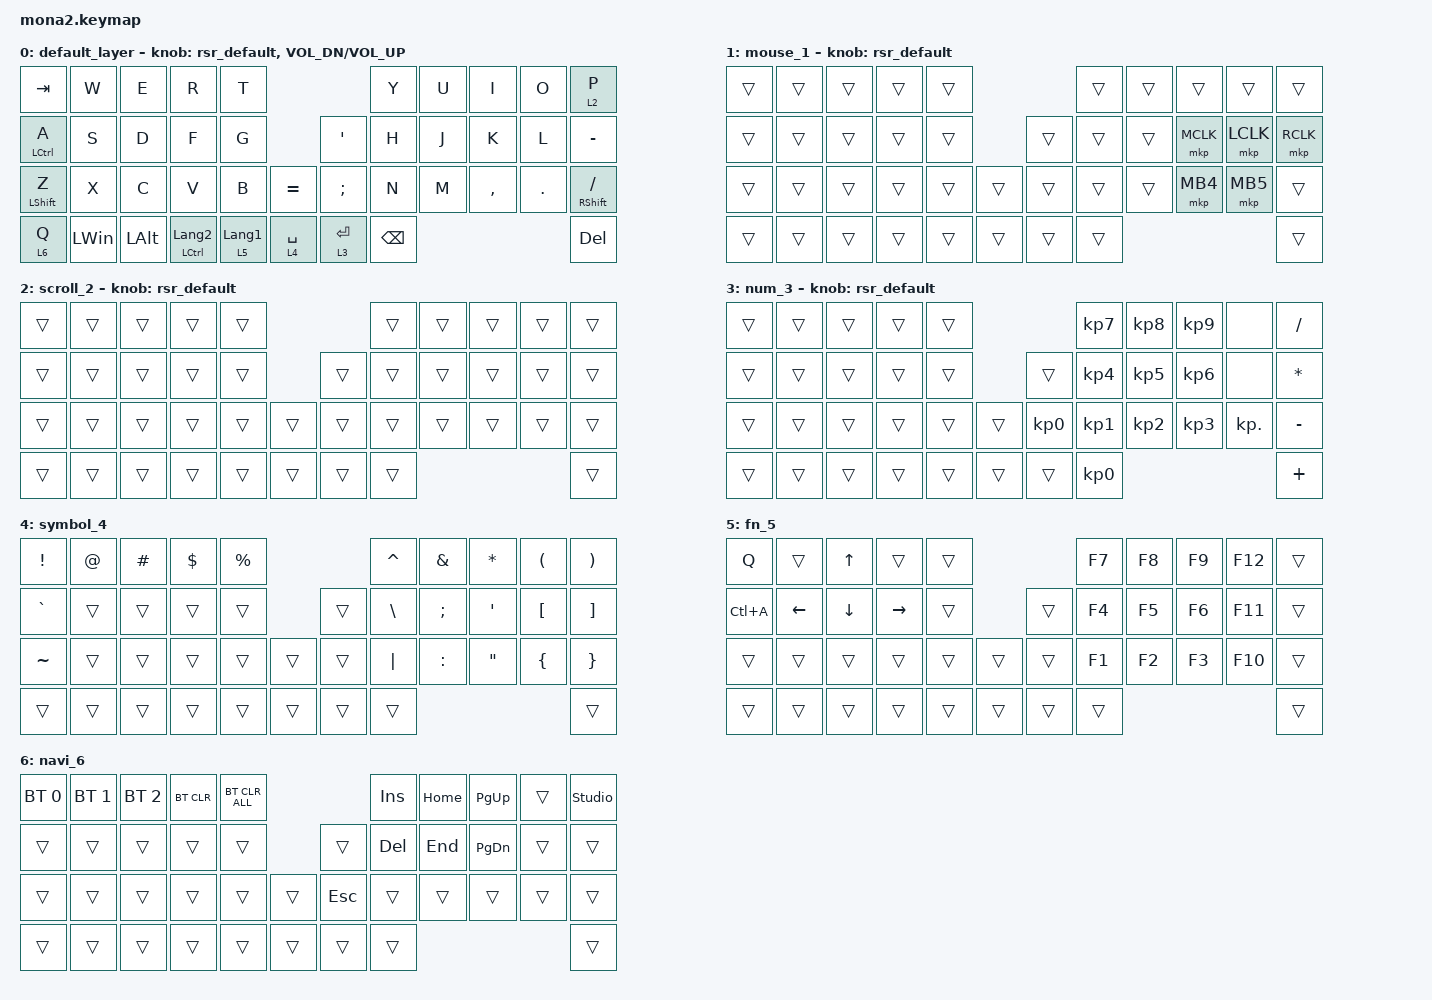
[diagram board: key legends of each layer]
#include <input/processors.dtsi>
#include <dt-bindings/zmk/input_transform.h>
#include <zephyr/dt-bindings/input/input-event-codes.h>
#include <behaviors/runtime-sensor-rotate.dtsi>

/* DYA Studio から作成したマクロを呼び出す `&rmacro <slot>` を定義する。
   slot は 0 〜 CONFIG_ZMK_RUNTIME_MACRO_COUNT-1 (現状 0〜7)。
   どのマクロがどのスロットに入っているかは DYA Studio のマクロ一覧で確認する。
   キーへの割り当ては DYA Studio のキーマップエディタからも行える。 */

#include <behaviors/runtime_macro.dtsi>

/* デフォルトレイヤー変更 behavior `&df`。
   DYA Studio の「OSごとのデフォルトレイヤー」から設定できるほか、
   キーマップエディタで `&df DF_SEL <layer>` / `&df DF_INC` を
   任意のキーに割り当てられる。 */

#include <behaviors/default_layer.dtsi>
#include <dt-bindings/zmk_behavior_default_layer/default_layer.h>
#include <behaviors.dtsi>
#include <dt-bindings/zmk/bt.h>
#include <dt-bindings/zmk/keys.h>
#include <dt-bindings/zmk/outputs.h>
#include <dt-bindings/zmk/pointing.h>

/* ZMK 側で 10 が定義済みなので警告回避のため一旦 undef */

#undef ZMK_POINTING_DEFAULT_SCRL_VAL

#define ZMK_POINTING_DEFAULT_SCRL_VAL 100

/ {
    behaviors {
        mg_set_0: behavior_mg_set_0 {
            compatible = "zmk,behavior-mg-set-fixed";
            #binding-cells = <0>;
            display-name = "Mouse Gesture Key 0";
        };

        mg_set_1: behavior_mg_set_1 {
            compatible = "zmk,behavior-mg-set-fixed";
            #binding-cells = <0>;
            display-name = "Mouse Gesture Key 1";
        };

        mg_set_2: behavior_mg_set_2 {
            compatible = "zmk,behavior-mg-set-fixed";
            #binding-cells = <0>;
            display-name = "Mouse Gesture Key 2";
        };
    };
};

&mt {
    flavor = "balanced";
    quick-tap-ms = <0>;
};

&lt {
    quick-tap-ms = <200>;
    flavor = "balanced";
};

&msc {
    delay-ms = <0>;
    time-to-max-speed-ms = <0>;
    acceleration-exponent = <0>;
};

/ {
    /* ─────────────────────────────────────────────────────────────
       コンボ (DYA Studio から編集可能)

       旧 `combos { compatible = "zmk,combos"; }` はコンパイル時固定で
       DYA Studio から編集できないため、zmk-feature-runtime-combo の
       「コンパイル時デフォルト」ノードへ移行した。
       ここに書いた内容はフラッシュ直後から有効で、設定を消しても復活する。
       DYA Studio 側で編集するとそのスロットだけ上書きされ、
       Web UI の "Reset to Default" でここの値へ戻せる。

       スロット総数は CONFIG_ZMK_RUNTIME_COMBO_MAX_COMBOS (現状 16)。
       未使用スロット (2〜15) は DYA Studio から自由に追加できる。
       ────────────────────────────────────────────────────────── */

    runtime_combo_defaults {
        compatible = "cormoran,runtime-combo-defaults";

        layer4_ESC {
            slot = <0>;
            display-name = "Layer4 ESC";
            key-positions = <38 39>;
            bindings = <&lt 4 ESC>;
        };

        tab {
            slot = <1>;
            display-name = "Tab";
            key-positions = <11 12>;
            bindings = <&kp TAB>;
        };
    };

    /* 静的マクロ。キーマップ上で &BT0 / &screenshot などの名前で直接
       参照しているため、そのまま残している (DYA Studio 上では編集不可)。
       DYA Studio から編集したいマクロは Web UI で新規作成し、
       キーに `&rmacro <slot>` を割り当てて使う。 */

    macros {
        to_layer_0: to_layer_0 {
            compatible = "zmk,behavior-macro-one-param";
            #binding-cells = <1>;
            bindings = <&to 0 &macro_param_1to1 &kp MACRO_PLACEHOLDER>;
            label = "TO_LAYER_0";
        };

        BT0: BT0 {
            compatible = "zmk,behavior-macro";
            #binding-cells = <0>;
            bindings =
                <&tog_off 0 &tog_off 0>,
                <&macro_wait_time 200>,
                <&bt BT_SEL 0>,
                <&macro_wait_time 500>,
                <&tog_on 0>;

            label = "BT0";
        };

        BT1: BT1 {
            compatible = "zmk,behavior-macro";
            #binding-cells = <0>;
            bindings =
                <&tog_off 0 &tog_off 0>,
                <&macro_wait_time 200>,
                <&bt BT_SEL 1>,
                <&macro_wait_time 500>,
                <&tog_on 0>;

            label = "BT1";
        };

        screenshot: screenshot {
            compatible = "zmk,behavior-macro";
            #binding-cells = <0>;
            bindings =
                <&macro_press>,
                <&kp LEFT_GUI &kp RSHIFT>,
                <&macro_wait_time 20>,
                <&macro_tap>,
                <&kp S>,
                <&macro_release>,
                <&kp LEFT_GUI &kp RSHIFT>;

            label = "SCREENSHOT";
        };

        henkan: henkan {
            compatible = "zmk,behavior-macro";
            #binding-cells = <0>;
            bindings =
                <&macro_press>,
                <&kp LEFT_ALT>,
                <&macro_wait_time 20>,
                <&macro_tap>,
                <&kp GRAVE>,
                <&macro_release>,
                <&kp LEFT_ALT>;

            label = "HENKAN";
        };
    };

    behaviors {
        lt_to_layer_0: lt_to_layer_0 {
            compatible = "zmk,behavior-hold-tap";
            label = "LAYER_TAP_TO_0";
            bindings = <&mo>, <&to_layer_0>;

            #binding-cells = <2>;
            tapping-term-ms = <200>;
        };

        tp_repeat_mo1: tp_repeat_mo1 {
            compatible = "zmk,behavior-hold-tap";
            label = "TP_REPEAT_MO1";
            bindings = <&mo>, <&key_repeat>;

            #binding-cells = <2>;
            tapping-term-ms = <200>;
        };

        // エンコーダ用 runtime-configurable sensor rotate
        // デフォルトはスクロール (cw=SCRL_DOWN, ccw=SCRL_UP)
        // DYA Studio Web UI から レイヤーごとに cw/ccw の binding を
        // kp C_VOL_UP/DN や kp LEFT/RIGHT などへ動的変更可能

        rsr_default: rsr_default {
            compatible = "zmk,behavior-runtime-sensor-rotate";
            #sensor-binding-cells = <0>;
            tap-ms = <16>;
            cw-binding = <&msc SCRL_DOWN>;
            ccw-binding = <&msc SCRL_UP>;
        };

        tog_on: toggle_layer_on_only {
            compatible = "zmk,behavior-toggle-layer";
            #binding-cells = <1>;
            display-name = "Toggle Layer On";
            toggle-mode = "on";
        };

        tog_off: toggle_layer_off_only {
            compatible = "zmk,behavior-toggle-layer";
            #binding-cells = <1>;
            display-name = "Toggle Layer Off";
            toggle-mode = "off";
        };

        zfold: zfold {
            compatible = "zmk,behavior-hold-tap";
            label = "ZFOLD";
            bindings = <&kp>, <&kp>;

            #binding-cells = <2>;
            tapping-term-ms = <300>;
            flavor = "hold-preferred";
            quick-tap-ms = <150>;
            hold-while-undecided;
        };

        zfoldZ: zfoldZ {
            compatible = "zmk,behavior-tap-dance";
            label = "ZFOLDZ";
            #binding-cells = <0>;
            bindings = <&zfold LEFT_SHIFT Z>, <&kp LS(Z)>;
        };
    };

    keymap {
        compatible = "zmk,keymap";

        default_layer {
            bindings = <
&kp TAB           &kp W         &kp E         &kp R                        &kp T                                           &kp Y          &kp U  &kp I      &kp O    &lt 2 P
&mt LCTRL A       &kp S         &kp D         &kp F                        &kp G                            &kp SQT        &kp H          &kp J  &kp K      &kp L    &kp MINUS
&mt LEFT_SHIFT Z  &kp X         &kp C         &kp V                        &kp B             &kp EQUAL      &kp SEMICOLON  &kp N          &kp M  &kp COMMA  &kp DOT  &mt RIGHT_SHIFT SLASH
&lt 6 Q           &kp LEFT_WIN  &kp LEFT_ALT  &mt LEFT_CONTROL LANGUAGE_2  &lt 5 LANGUAGE_1  &lt 4 SPACE    &lt 3 ENTER    &kp BACKSPACE                             &kp DEL
            >;

            sensor-bindings = <&rsr_default>, <&inc_dec_kp C_VOL_DN C_VOL_UP>;
        };

        mouse_1 {
            bindings = <
&trans  &trans  &trans  &trans  &trans                    &trans  &trans  &trans     &trans     &trans
&trans  &trans  &trans  &trans  &trans            &trans  &trans  &trans  &mkp MCLK  &mkp LCLK  &mkp RCLK
&trans  &trans  &trans  &trans  &trans  &trans    &trans  &trans  &trans  &mkp MB4   &mkp MB5   &trans
&trans  &trans  &trans  &trans  &trans  &trans    &trans  &trans                                &trans
            >;

            sensor-bindings = <&rsr_default>;
        };

        scroll_2 {
            bindings = <
&trans  &trans  &trans  &trans  &trans                    &trans  &trans  &trans  &trans  &trans
&trans  &trans  &trans  &trans  &trans            &trans  &trans  &trans  &trans  &trans  &trans
&trans  &trans  &trans  &trans  &trans  &trans    &trans  &trans  &trans  &trans  &trans  &trans
&trans  &trans  &trans  &trans  &trans  &trans    &trans  &trans                          &trans
            >;

            sensor-bindings = <&rsr_default>;
        };

        num_3 {
            bindings = <
&trans  &trans  &trans  &trans  &trans                             &kp KP_NUMBER_7  &kp KP_NUMBER_8  &kp KP_NUMBER_9  &none       &kp SLASH
&trans  &trans  &trans  &trans  &trans            &trans           &kp KP_NUMBER_4  &kp KP_NUMBER_5  &kp KP_NUMBER_6  &none       &kp ASTRK
&trans  &trans  &trans  &trans  &trans  &trans    &kp KP_NUMBER_0  &kp KP_NUMBER_1  &kp KP_NUMBER_2  &kp KP_NUMBER_3  &kp KP_DOT  &kp MINUS
&trans  &trans  &trans  &trans  &trans  &trans    &trans           &kp KP_N0                                                      &kp PLUS
            >;

            sensor-bindings = <&rsr_default>;
        };

        symbol_4 {
            bindings = <
&kp EXCLAMATION  &kp AT_SIGN  &kp HASH  &kp DOLLAR  &kp PERCENT                    &kp CARET      &kp AMPERSAND  &kp ASTERISK       &kp LEFT_PARENTHESIS  &kp RIGHT_PARENTHESIS
&kp GRAVE        &trans       &trans    &trans      &trans                 &trans  &kp BACKSLASH  &kp SEMICOLON  &kp SQT            &kp LEFT_BRACKET      &kp RIGHT_BRACKET
&kp TILDE        &trans       &trans    &trans      &trans       &trans    &trans  &kp PIPE       &kp COLON      &kp DOUBLE_QUOTES  &kp LEFT_BRACE        &kp RIGHT_BRACE
&trans           &trans       &trans    &trans      &trans       &trans    &trans  &trans                                                                 &trans
            >;
        };

        fn_5 {
            bindings = <
&kp Q      &trans          &kp UP_ARROW    &trans     &trans                    &kp F7  &kp F8  &kp F9  &kp F12  &trans
&kp LC(A)  &kp LEFT_ARROW  &kp DOWN_ARROW  &kp RIGHT  &trans            &trans  &kp F4  &kp F5  &kp F6  &kp F11  &trans
&trans     &trans          &trans          &trans     &trans  &trans    &trans  &kp F1  &kp F2  &kp F3  &kp F10  &trans
&trans     &trans          &trans          &trans     &trans  &trans    &trans  &trans                           &trans
            >;
        };

        navi_6 {
            bindings = <
&bt BT_SEL 0  &bt BT_SEL 1  &bt BT_SEL 2  &bt BT_CLR  &bt BT_CLR_ALL                        &kp INS     &kp HOME  &kp PAGE_UP    &trans  &studio_unlock
&trans        &trans        &trans        &trans      &trans                    &trans      &kp DELETE  &kp END   &kp PAGE_DOWN  &trans  &trans
&trans        &trans        &trans        &trans      &trans          &trans    &kp ESCAPE  &trans      &trans    &trans         &trans  &trans
&trans        &trans        &trans        &trans      &trans          &trans    &trans      &trans                                       &trans
            >;
        };
    };
};
